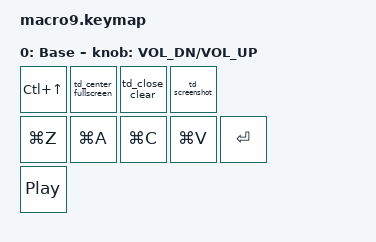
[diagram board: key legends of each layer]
#include <behaviors.dtsi>
#include <dt-bindings/zmk/keys.h>

/ {
    macros {
        center_window: center_window {
            compatible = "zmk,behavior-macro";
            #binding-cells = <0>;
            wait-ms = <20>;
            tap-ms = <30>;
            bindings =
                <&macro_press &kp LCTRL>,
                <&macro_press &kp GLOBE>,
                <&macro_tap &kp C>,
                <&macro_release &kp GLOBE>,
                <&macro_release &kp LCTRL>;
        };

        fill_window: fill_window {
            compatible = "zmk,behavior-macro";
            #binding-cells = <0>;
            wait-ms = <20>;
            tap-ms = <30>;
            bindings =
                <&macro_press &kp LCTRL>,
                <&macro_press &kp GLOBE>,
                <&macro_tap &kp F>,
                <&macro_release &kp GLOBE>,
                <&macro_release &kp LCTRL>;
        };
    };

    behaviors {
        td_center_fullscreen: tap_dance_center_fullscreen {
            compatible = "zmk,behavior-tap-dance";
            #binding-cells = <0>;
            tapping-term-ms = <250>;
            bindings = <&center_window>, <&fill_window>;
        };

        td_close_clear: tap_dance_close_clear {
            compatible = "zmk,behavior-tap-dance";
            #binding-cells = <0>;
            tapping-term-ms = <250>;
            bindings = <&kp LG(W)>, <&kp LG(K)>;
        };

        td_screenshot: tap_dance_screenshot {
            compatible = "zmk,behavior-tap-dance";
            #binding-cells = <0>;
            tapping-term-ms = <250>;
            bindings = <&kp LG(LS(N4))>, <&kp LG(LS(N3))>;
        };
    };

    keymap {
        compatible = "zmk,keymap";

        default_layer {
            display-name = "Base";

            bindings = <
                &kp LC(UP)         &td_center_fullscreen  &td_close_clear     &td_screenshot
                &kp LG(Z)          &kp LG(A)              &kp LG(C)           &kp LG(V)          &kp RET
                &kp C_PLAY_PAUSE
            >;

            sensor-bindings = <&inc_dec_kp C_VOL_DN C_VOL_UP>;
        };
    };
};
